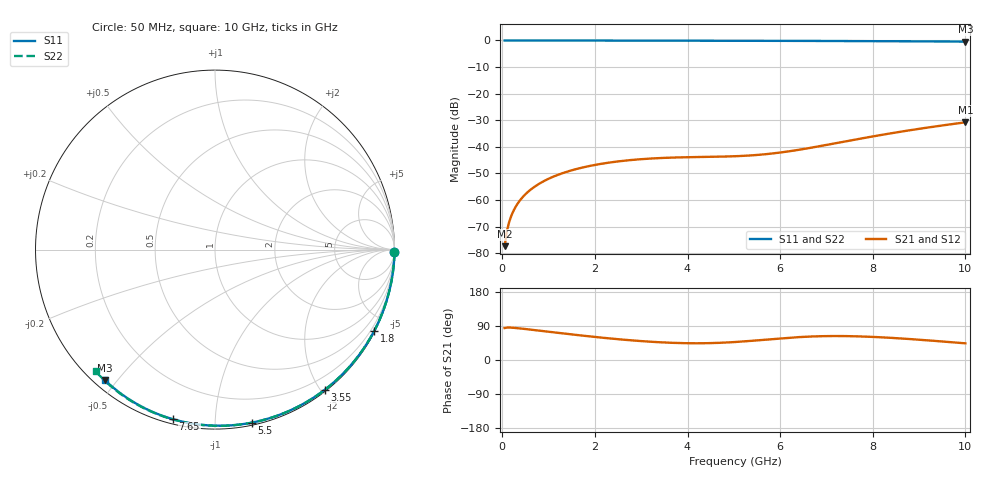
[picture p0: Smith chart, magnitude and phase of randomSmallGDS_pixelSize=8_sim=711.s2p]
! freq	dB(S11)	phase(S11)	dB(S12)	phase(S12)
!  dB(S21)	phase(S21)	dB(S22)	phase(S22)
!S-par simulation data
#  GHz  S  DB  R 50
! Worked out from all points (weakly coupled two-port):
!   200 points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, 50 MHz to 10 GHz, reference 50 ohm
!   highest |S21| = -30.78 dB at 10 GHz (marker M1); lowest = -77.3 dB at 50 MHz (marker M2)
!   lowest |S11| = -0.4 dB at 10 GHz (marker M3), VSWR 40.24, Z = 1.51 - j23.2 ohm
!   |S11| at or under -10 dB: nowhere
!   |S22| runs from -0.4 to 0.0 dB; largest |S21 - S12| = 0
!   S11 on the Smith chart (normalised r, x): 50 MHz: open; 1.8 GHz: 0.04, -4.16; 3.55 GHz: 0.02, -2.05; 5.5 GHz: 0.02, -1.24; 7.65 GHz: 0.02, -0.78; 10 GHz: 0.03, -0.46
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0.05  -0.00 -0.8  -77.34 84.3  -77.34 84.3  -0.00 -0.8
0.1  -0.00 -1.5  -71.60 85.5  -71.60 85.5  -0.00 -1.6
0.15  -0.00 -2.3  -68.15 85.6  -68.15 85.6  -0.00 -2.4
0.2  -0.00 -3.1  -65.68 85.4  -65.68 85.4  -0.00 -3.2
0.25  -0.00 -3.8  -63.76 84.9  -63.76 84.9  -0.00 -4.0
0.35  -0.00 -5.3  -60.87 83.8  -60.87 83.8  -0.00 -5.5
0.5  -0.01 -7.6  -57.81 81.7  -57.81 81.7  -0.01 -7.9
0.7  -0.01 -10.6  -54.95 78.9  -54.95 78.9  -0.01 -11.0
1  -0.02 -15.1  -52.00 74.6  -52.00 74.6  -0.02 -15.7
1.35  -0.03 -20.4  -49.61 69.6  -49.61 69.6  -0.03 -21.1
1.75  -0.03 -26.3  -47.70 64.1  -47.70 64.1  -0.03 -27.3
1.8  -0.03 -27.0  -47.50 63.4  -47.50 63.4  -0.04 -28.0
2.5  -0.05 -37.2  -45.47 54.9  -45.47 54.9  -0.05 -38.6
3.4  -0.07 -49.9  -44.22 46.8  -44.22 46.8  -0.07 -51.8
3.55  -0.07 -52.0  -44.11 45.9  -44.11 45.9  -0.07 -53.9
4.3  -0.09 -62.2  -43.81 44.2  -43.81 44.2  -0.09 -64.5
5.05  -0.11 -72.1  -43.51 47.6  -43.51 47.6  -0.11 -74.7
5.5  -0.13 -77.9  -43.05 51.8  -43.05 51.8  -0.13 -80.6
6.7  -0.18 -92.7  -40.23 62.1  -40.23 62.1  -0.18 -95.9
7.65  -0.23 -103.9  -37.18 62.5  -37.18 62.5  -0.24 -107.4
8.35  -0.28 -111.9  -35.03 58.8  -35.03 58.8  -0.29 -115.6
10  -0.43 -130.1  -30.78 44.0  -30.78 44.0  -0.45 -134.4
